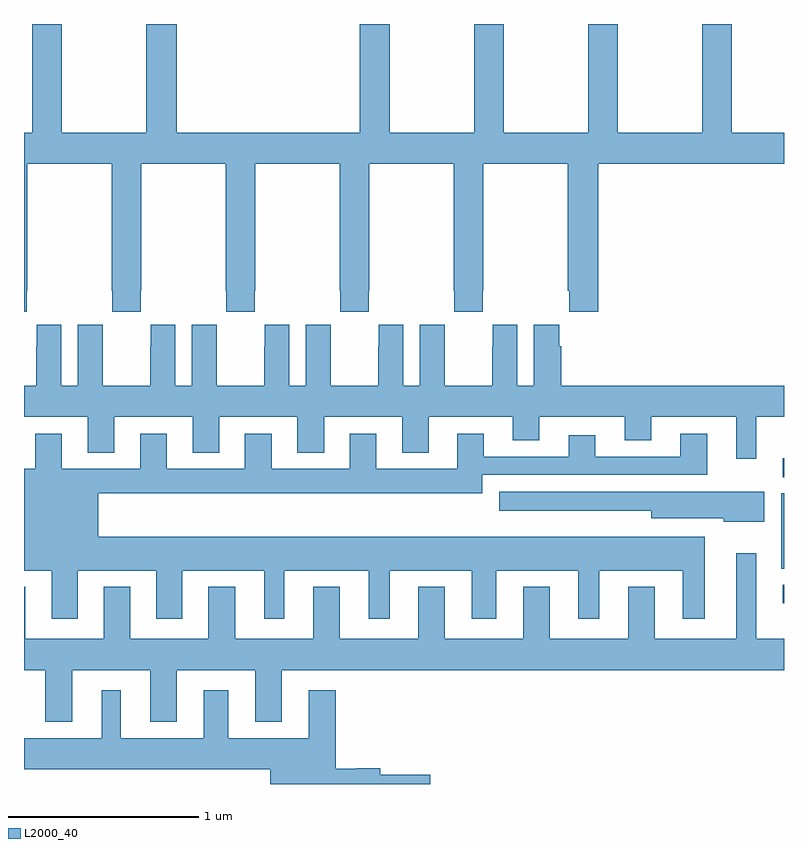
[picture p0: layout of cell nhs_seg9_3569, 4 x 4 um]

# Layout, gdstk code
import gdstk
lib = gdstk.Library(unit=1e-6, precision=1e-09)
def R(c, l, rs):  # rectangles x0, y0, x1, y1
    for r in rs: c.add(gdstk.rectangle(r[:2], r[2:], *l))
def P(c, l, *ps):  # polygons
    for p in ps: c.add(gdstk.Polygon(p, *l))
L2000_40 = (2000, 40)

nhs_seg9_3569 = lib.new_cell('nhs_seg9_3569')
R(nhs_seg9_3569, L2000_40, [(318.993,1183.452,319,1183.548), (318.986,1183.633,319,1184.03), (318.993,1184.115,319,1184.214)])
P(nhs_seg9_3569, L2000_40, [(315.015,1185.097),(315.018,1185.097),(315.018,1185.764),(315.463,1185.764),(315.463,1185.097),(315.465,1185.097),(315.465,1184.985),(315.615,1184.985),(315.615,1185.097),(315.618,1185.097),(315.618,1185.764),(316.063,1185.764),(316.063,1185.097),(316.065,1185.097),(316.065,1184.985),(316.215,1184.985),(316.215,1185.097),(316.218,1185.097),(316.218,1185.764),(316.663,1185.764),(316.663,1185.097),(316.665,1185.097),(316.665,1184.985),(316.815,1184.985),(316.815,1185.097),(316.818,1185.097),(316.818,1185.764),(317.263,1185.764),(317.263,1185.097),(317.265,1185.097),(317.265,1184.985),(317.415,1184.985),(317.415,1185.097),(317.418,1185.097),(317.418,1185.764),(317.863,1185.764),(317.863,1185.097),(317.869,1185.097),(317.869,1184.985),(318.023,1184.985),(318.023,1185.764),(319,1185.764),(319,1185.928),(318.726,1185.928),(318.726,1186.5),(318.571,1186.5),(318.571,1185.928),(318.126,1185.928),(318.126,1186.5),(317.971,1186.5),(317.971,1185.928),(317.526,1185.928),(317.526,1186.5),(317.371,1186.5),(317.371,1185.928),(316.926,1185.928),(316.926,1186.5),(316.766,1186.5),(316.766,1185.928),(315.803,1185.928),(315.803,1186.5),(315.643,1186.5),(315.643,1185.928),(315.198,1185.928),(315.198,1186.5),(315.043,1186.5),(315.043,1185.928),(315,1185.928),(315,1184.985),(315.015,1184.985)],
  [(318.853,1184.432),(319,1184.432),(319,1184.596),(317.828,1184.596),(317.828,1184.804),(317.818,1184.804),(317.818,1184.917),(317.684,1184.917),(317.684,1184.596),(317.596,1184.596),(317.596,1184.917),(317.466,1184.917),(317.466,1184.804),(317.465,1184.804),(317.465,1184.596),(317.215,1184.596),(317.215,1184.804),(317.214,1184.804),(317.214,1184.917),(317.084,1184.917),(317.084,1184.596),(316.996,1184.596),(316.996,1184.917),(316.866,1184.917),(316.866,1184.804),(316.865,1184.804),(316.865,1184.596),(316.615,1184.596),(316.615,1184.804),(316.614,1184.804),(316.614,1184.917),(316.484,1184.917),(316.484,1184.596),(316.396,1184.596),(316.396,1184.917),(316.266,1184.917),(316.266,1184.804),(316.265,1184.804),(316.265,1184.596),(316.015,1184.596),(316.015,1184.804),(316.014,1184.804),(316.014,1184.917),(315.884,1184.917),(315.884,1184.596),(315.796,1184.596),(315.796,1184.917),(315.666,1184.917),(315.666,1184.804),(315.665,1184.804),(315.665,1184.596),(315.415,1184.596),(315.415,1184.804),(315.414,1184.804),(315.414,1184.917),(315.284,1184.917),(315.284,1184.596),(315.196,1184.596),(315.196,1184.917),(315.066,1184.917),(315.066,1184.804),(315.065,1184.804),(315.065,1184.596),(315,1184.596),(315,1184.432),(315.335,1184.432),(315.335,1184.243),(315.475,1184.243),(315.475,1184.432),(315.887,1184.432),(315.887,1184.243),(316.027,1184.243),(316.027,1184.432),(316.439,1184.432),(316.439,1184.243),(316.579,1184.243),(316.579,1184.432),(316.991,1184.432),(316.991,1184.243),(317.131,1184.243),(317.131,1184.432),(317.573,1184.432),(317.573,1184.308),(317.713,1184.308),(317.713,1184.432),(318.161,1184.432),(318.161,1184.308),(318.301,1184.308),(318.301,1184.432),(318.749,1184.432),(318.749,1184.211),(318.853,1184.211)],
  [(315.283,1183.622),(315.695,1183.622),(315.695,1183.371),(315.832,1183.371),(315.832,1183.622),(316.265,1183.622),(316.265,1183.371),(316.369,1183.371),(316.369,1183.622),(316.814,1183.622),(316.814,1183.371),(316.924,1183.371),(316.924,1183.622),(317.357,1183.622),(317.357,1183.371),(317.485,1183.371),(317.485,1183.622),(317.918,1183.622),(317.918,1183.371),(318.028,1183.371),(318.028,1183.622),(318.467,1183.622),(318.467,1183.371),(318.583,1183.371),(318.583,1183.801),(315.391,1183.801),(315.391,1184.03),(317.413,1184.03),(317.413,1184.127),(318.595,1184.127),(318.595,1184.344),(318.455,1184.344),(318.455,1184.223),(318.007,1184.223),(318.007,1184.335),(317.867,1184.335),(317.867,1184.223),(317.419,1184.223),(317.419,1184.344),(317.279,1184.344),(317.279,1184.158),(316.855,1184.158),(316.855,1184.344),(316.715,1184.344),(316.715,1184.158),(316.303,1184.158),(316.303,1184.344),(316.163,1184.344),(316.163,1184.158),(315.751,1184.158),(315.751,1184.344),(315.611,1184.344),(315.611,1184.158),(315.199,1184.158),(315.199,1184.344),(315.059,1184.344),(315.059,1184.158),(315,1184.158),(315,1183.622),(315.146,1183.622),(315.146,1183.371),(315.283,1183.371)],
  [(318.895,1184.038),(317.502,1184.038),(317.502,1183.937),(318.302,1183.937),(318.302,1183.898),(318.684,1183.898),(318.684,1183.88),(318.895,1183.88)],
  [(316.111,1183.537),(315.971,1183.537),(315.971,1183.264),(315.559,1183.264),(315.559,1183.537),(315.419,1183.537),(315.419,1183.264),(315.007,1183.264),(315.007,1183.537),(315,1183.537),(315,1183.1),(315.113,1183.1),(315.113,1182.827),(315.253,1182.827),(315.253,1183.1),(315.665,1183.1),(315.665,1182.827),(315.805,1182.827),(315.805,1183.1),(316.217,1183.1),(316.217,1182.827),(316.357,1182.827),(316.357,1183.1),(319,1183.1),(319,1183.264),(318.853,1183.264),(318.853,1183.714),(318.749,1183.714),(318.749,1183.264),(318.319,1183.264),(318.319,1183.537),(318.179,1183.537),(318.179,1183.264),(317.767,1183.264),(317.767,1183.537),(317.627,1183.537),(317.627,1183.264),(317.215,1183.264),(317.215,1183.537),(317.075,1183.537),(317.075,1183.264),(316.663,1183.264),(316.663,1183.537),(316.523,1183.537),(316.523,1183.264),(316.111,1183.264)],
  [(317.137,1182.548),(316.876,1182.548),(316.876,1182.584),(316.752,1182.584),(316.752,1182.58),(316.64,1182.58),(316.64,1182.994),(316.499,1182.994),(316.499,1182.742),(316.075,1182.742),(316.075,1182.994),(315.947,1182.994),(315.947,1182.742),(315.508,1182.742),(315.508,1182.994),(315.41,1182.994),(315.41,1182.742),(315,1182.742),(315,1182.578),(316.295,1182.578),(316.295,1182.5),(317.137,1182.5)])

lib.write_gds('nhs_seg9_3569.gds')
